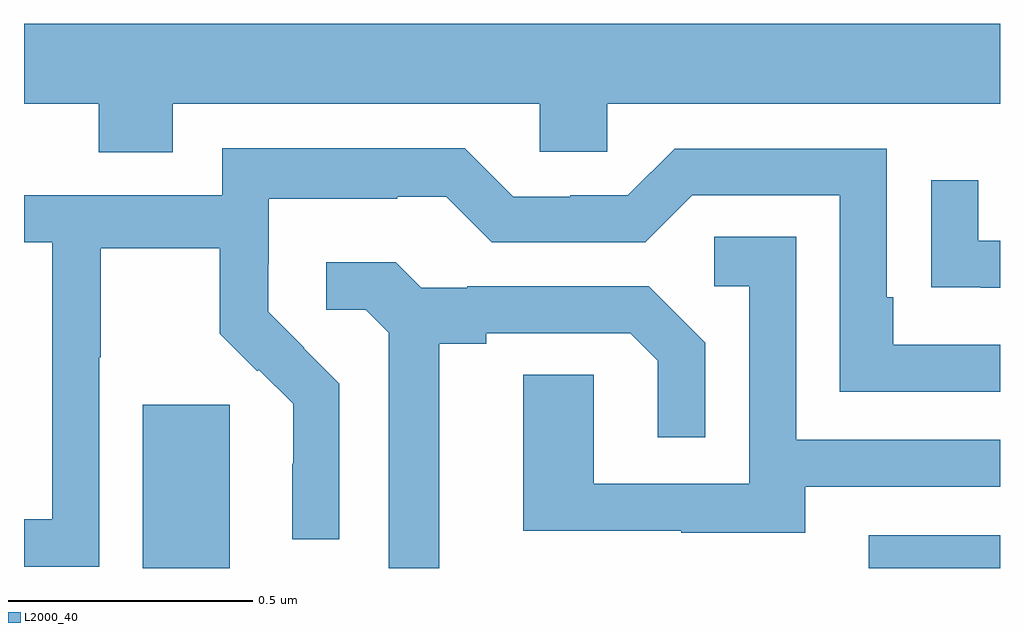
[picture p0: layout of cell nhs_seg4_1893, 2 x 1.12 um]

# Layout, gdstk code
import gdstk
lib = gdstk.Library(unit=1e-6, precision=1e-09)
def R(c, l, rs):  # rectangles x0, y0, x1, y1
    for r in rs: c.add(gdstk.rectangle(r[:2], r[2:], *l))
def P(c, l, *ps):  # polygons
    for p in ps: c.add(gdstk.Polygon(p, *l))
L2000_40 = (2000, 40)

nhs_seg4_1893 = lib.new_cell('nhs_seg4_1893')
R(nhs_seg4_1893, L2000_40, [(134.243,763.9,134.422,764.235), (135.731,763.9,136,763.968)])
P(nhs_seg4_1893, L2000_40, [(134.305,764.852),(135.057,764.852),(135.057,764.754),(135.195,764.754),(135.195,764.852),(136,764.852),(136,765.016),(134,765.016),(134,764.852),(134.153,764.852),(134.153,764.753),(134.305,764.753)],
  [(134.154,764.332),(134.157,764.332),(134.157,764.556),(134.401,764.556),(134.401,764.381),(134.478,764.304),(134.481,764.307),(134.552,764.237),(134.552,764.114),(134.55,764.114),(134.55,763.96),(134.646,763.96),(134.646,764.278),(134.573,764.351),(134.574,764.352),(134.5,764.426),(134.5,764.523),(134.502,764.523),(134.502,764.657),(134.765,764.657),(134.765,764.661),(134.865,764.661),(134.958,764.568),(135.273,764.568),(135.369,764.664),(135.672,764.664),(135.672,764.262),(136,764.262),(136,764.358),(135.781,764.358),(135.781,764.455),(135.768,764.455),(135.768,764.76),(135.333,764.76),(135.237,764.664),(135.119,764.664),(135.119,764.661),(135.003,764.661),(134.903,764.761),(134.406,764.761),(134.406,764.664),(134,764.664),(134,764.568),(134.058,764.568),(134.058,764.001),(134,764.001),(134,763.903),(134.154,763.903)],
  [(136,764.571),(135.955,764.571),(135.955,764.695),(135.859,764.695),(135.859,764.476),(135.961,764.476),(135.961,764.475),(136,764.475)],
  [(135.601,764.067),(136,764.067),(136,764.163),(135.582,764.163),(135.582,764.579),(135.414,764.579),(135.414,764.478),(135.486,764.478),(135.486,764.073),(135.168,764.073),(135.168,764.297),(135.023,764.297),(135.023,763.977),(135.347,763.977),(135.347,763.973),(135.601,763.973)],
  [(134.851,764.36),(134.947,764.36),(134.947,764.382),(135.242,764.382),(135.299,764.325),(135.299,764.169),(135.396,764.169),(135.396,764.362),(135.28,764.478),(134.908,764.478),(134.908,764.475),(134.814,764.475),(134.762,764.527),(134.619,764.527),(134.619,764.43),(134.7,764.43),(134.747,764.383),(134.747,763.9),(134.851,763.9)])

lib.write_gds('nhs_seg4_1893.gds')
